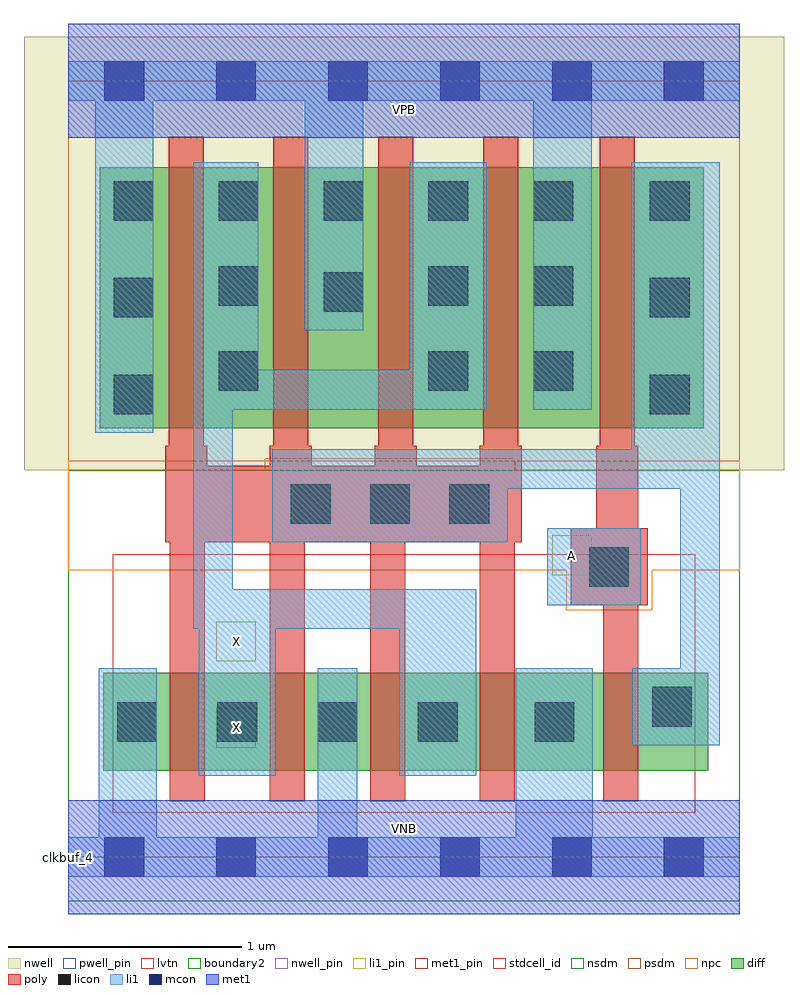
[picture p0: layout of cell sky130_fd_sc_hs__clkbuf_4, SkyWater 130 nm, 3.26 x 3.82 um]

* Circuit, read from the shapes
.subckt sky130_fd_sc_hs__clkbuf_4 A VGND VNB VPB VPWR X
XM1 X n1 VGND VNB sky130_fd_pr__nfet_01v8_lvt w=0.42 l=0.15 m=4
XM2 n1 A VGND VNB sky130_fd_pr__nfet_01v8_lvt w=0.42 l=0.15
XM3 X n1 VPWR VPB sky130_fd_pr__pfet_01v8 w=1.12 l=0.15 m=4
XM4 n1 A VPWR VPB sky130_fd_pr__pfet_01v8 w=1.12 l=0.15
.ends

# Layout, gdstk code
import gdstk
lib = gdstk.Library(unit=1e-6, precision=1e-09)
def R(c, l, rs):  # rectangles x0, y0, x1, y1
    for r in rs: c.add(gdstk.rectangle(r[:2], r[2:], *l))
def A(c, l, x, y, w, h, nx, ny, dx, dy):  # array of equal rectangles
    R(c, l, [(x+i*dx, y+j*dy, x+i*dx+w, y+j*dy+h) for i in range(nx) for j in range(ny)])
def P(c, l, *ps):  # polygons
    for p in ps: c.add(gdstk.Polygon(p, *l))
nwell_pin = (64, 16)
nwell = (64, 20)
diff = (65, 20)
poly = (66, 20)
licon = (66, 44)
li1_pin = (67, 16)
li1 = (67, 20)
mcon = (67, 44)
met1_pin = (68, 16)
met1 = (68, 20)
stdcell_id = (81, 4)
nsdm = (93, 44)
psdm = (94, 20)
npc = (95, 20)
pwell_pin = (122, 16)
lvtn = (125, 44)
boundary2 = (236, 0)

sky130_fd_sc_hs__clkbuf_ = lib.new_cell('sky130_fd_sc_hs__clkbuf_4')
R(sky130_fd_sc_hs__clkbuf_, nwell_pin, [(0,3.085,2.88,3.33)])
R(sky130_fd_sc_hs__clkbuf_, nwell, [(-0.19,1.66,3.07,3.52)])
R(sky130_fd_sc_hs__clkbuf_, diff, [(0.15,0.37,2.745,0.79), (0.135,1.84,2.725,2.96)])
P(sky130_fd_sc_hs__clkbuf_, poly, [(1.945,1.765),(1.93,1.765),(1.93,3.09),(1.78,3.09),(1.78,1.765),(1.765,1.765),(1.765,1.68),(1.495,1.68),(1.495,1.765),(1.48,1.765),(1.48,3.09),(1.33,3.09),(1.33,1.765),(1.315,1.765),(1.315,1.68),(1.045,1.68),(1.045,1.765),(1.03,1.765),(1.03,3.09),(0.88,3.09),(0.88,1.765),(0.865,1.765),(0.865,1.68),(0.595,1.68),(0.595,1.765),(0.58,1.765),(0.58,3.09),(0.43,3.09),(0.43,1.765),(0.415,1.765),(0.415,1.35),(0.435,1.35),(0.435,0.24),(0.585,0.24),(0.585,1.35),(0.865,1.35),(0.865,0.24),(1.015,0.24),(1.015,1.35),(1.295,1.35),(1.295,0.24),(1.445,0.24),(1.445,1.35),(1.765,1.35),(1.765,0.24),(1.915,0.24),(1.915,1.35),(1.945,1.35)],
  [(2.485,1.41),(2.445,1.41),(2.445,1.765),(2.43,1.765),(2.43,3.09),(2.28,3.09),(2.28,1.765),(2.265,1.765),(2.265,1.41),(2.155,1.41),(2.155,1.08),(2.295,1.08),(2.295,0.24),(2.445,0.24),(2.445,1.08),(2.485,1.08)])
A(sky130_fd_sc_hs__clkbuf_, licon, 0.21, 0.495, 0.17, 0.17, 4, 1, 0.43, 0)
A(sky130_fd_sc_hs__clkbuf_, licon, 0.955, 1.43, 0.17, 0.17, 3, 1, 0.34, 0)
A(sky130_fd_sc_hs__clkbuf_, licon, 2.495, 1.9, 0.17, 0.17, 1, 3, 0, 0.415)
A(sky130_fd_sc_hs__clkbuf_, licon, 0.195, 2.73, 0.17, 0.17, 5, 1, 0.45, 0)
R(sky130_fd_sc_hs__clkbuf_, licon, [(2,0.495,2.17,0.665), (2.505,0.56,2.675,0.73), (2.235,1.16,2.405,1.33), (0.195,1.9,0.365,2.07), (0.645,2,0.815,2.17), (1.545,2,1.715,2.17), (1.995,2,2.165,2.17), (0.195,2.315,0.365,2.485), (1.095,2.34,1.265,2.51), (0.645,2.365,0.815,2.535), (1.545,2.365,1.715,2.535), (1.995,2.365,2.165,2.535)])
R(sky130_fd_sc_hs__clkbuf_, li1_pin, [(0.635,0.47,0.805,0.64), (0.635,0.84,0.805,1.01), (2.075,1.21,2.245,1.38)])
R(sky130_fd_sc_hs__clkbuf_, li1, [(2.055,1.08,2.455,1.41)])
P(sky130_fd_sc_hs__clkbuf_, li1, [(0,-0.085),(0,0.085),(0.13,0.085),(0.13,0.81),(0.38,0.81),(0.38,0.085),(1.07,0.085),(1.07,0.81),(1.24,0.81),(1.24,0.085),(1.92,0.085),(1.92,0.81),(2.25,0.81),(2.25,0.085),(2.88,0.085),(2.88,-0.085)],
  [(0,3.245),(0,3.415),(2.88,3.415),(2.88,3.245),(2.245,3.245),(2.245,1.92),(1.995,1.92),(1.995,3.245),(1.265,3.245),(1.265,2.26),(1.015,2.26),(1.015,3.245),(0.365,3.245),(0.365,1.82),(0.115,1.82),(0.115,3.245)],
  [(0.56,0.35),(0.56,0.98),(0.535,0.98),(0.535,2.98),(0.815,2.98),(0.815,2.09),(1.465,2.09),(1.465,2.98),(1.795,2.98),(1.795,1.92),(0.705,1.92),(0.705,1.15),(1.75,1.15),(1.75,0.35),(1.42,0.35),(1.42,0.98),(0.89,0.98),(0.89,0.35)],
  [(2.625,1.58),(1.885,1.58),(1.885,1.35),(0.875,1.35),(0.875,1.75),(2.415,1.75),(2.415,2.98),(2.795,2.98),(2.795,0.48),(2.42,0.48),(2.42,0.81),(2.625,0.81)])
A(sky130_fd_sc_hs__clkbuf_, mcon, 0.155, -0.085, 0.17, 0.17, 6, 2, 0.48, 3.33)
R(sky130_fd_sc_hs__clkbuf_, met1_pin, [(0,0,2.88,0.245), (0,3.085,2.88,3.33)])
R(sky130_fd_sc_hs__clkbuf_, met1, [(0,-0.245,2.88,0.245), (0,3.085,2.88,3.575)])
R(sky130_fd_sc_hs__clkbuf_, stdcell_id, [(0,0,2.88,3.33)])
R(sky130_fd_sc_hs__clkbuf_, nsdm, [(0,-0.19,2.88,1.66)])
P(sky130_fd_sc_hs__clkbuf_, psdm, [(2.88,3.52),(0,3.52),(0,1.66),(0.845,1.66),(0.845,1.71),(1.915,1.71),(1.915,1.66),(2.88,1.66)])
P(sky130_fd_sc_hs__clkbuf_, npc, [(2.88,1.7),(0,1.7),(0,1.23),(2.135,1.23),(2.135,1.06),(2.505,1.06),(2.505,1.23),(2.88,1.23)])
R(sky130_fd_sc_hs__clkbuf_, pwell_pin, [(0,0,2.88,0.245)])
R(sky130_fd_sc_hs__clkbuf_, lvtn, [(0.19,0.19,2.69,1.3)])
R(sky130_fd_sc_hs__clkbuf_, boundary2, [(0,0,2.88,3.33)])
sky130_fd_sc_hs__clkbuf_.add(gdstk.Label('clkbuf_4', (0,0), layer=83, texttype=44))
sky130_fd_sc_hs__clkbuf_.add(gdstk.Label('VNB', (1.44,0.123), layer=64, texttype=59))
sky130_fd_sc_hs__clkbuf_.add(gdstk.Label('VPB', (1.44,3.208), layer=64, texttype=5))
sky130_fd_sc_hs__clkbuf_.add(gdstk.Label('VPWR', (1.44,3.208), layer=68, texttype=5))
sky130_fd_sc_hs__clkbuf_.add(gdstk.Label('VGND', (1.44,0.123), layer=68, texttype=5))
sky130_fd_sc_hs__clkbuf_.add(gdstk.Label('A', (2.16,1.295), layer=67, texttype=5))
sky130_fd_sc_hs__clkbuf_.add(gdstk.Label('X', (0.72,0.555), layer=67, texttype=5))
sky130_fd_sc_hs__clkbuf_.add(gdstk.Label('X', (0.72,0.925), layer=67, texttype=5))

lib.write_gds('sky130_fd_sc_hs__clkbuf_4.gds')
